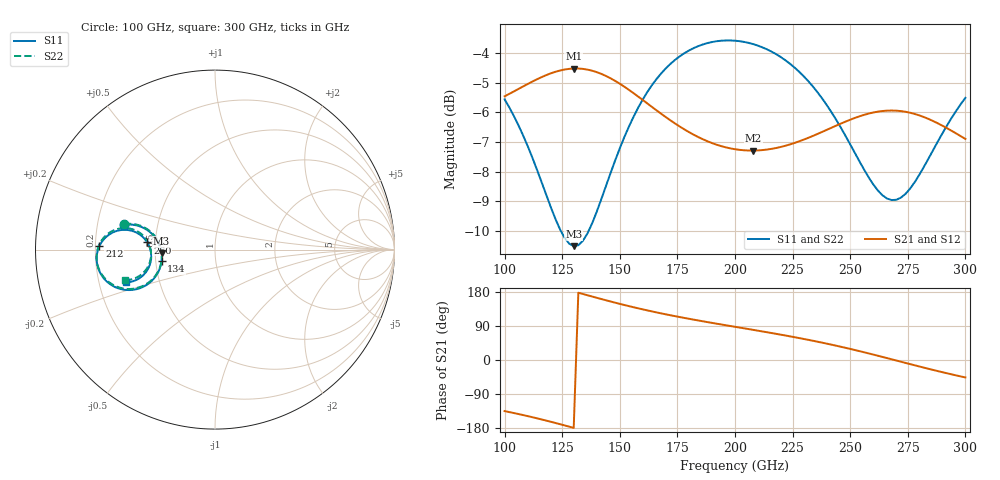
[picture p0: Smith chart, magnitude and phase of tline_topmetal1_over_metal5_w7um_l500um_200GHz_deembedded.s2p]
! Created with skrf 2.0.1 (http://scikit-rf.org).
# GHz S DB R 50.0
!freq dBS11 angS11 dBS21 angS21 dBS12 angS12 dBS22 angS22
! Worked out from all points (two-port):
!   101 points, 100 GHz to 300 GHz, reference 50 ohm
!   highest |S21| = -4.53 dB at 130 GHz (marker M1); lowest = -7.3 dB at 208 GHz (marker M2)
!   |S21| within 3 dB of the highest: start of sweep to end of sweep
!   lowest |S11| = -10.5 dB at 130 GHz (marker M3), VSWR 1.85, Z = 27 - j1.27 ohm
!   |S11| at or under -10 dB: 124.5 GHz to 136.4 GHz (11.93 GHz wide, 9.15 % of centre)
!   |S22| runs from -10.5 to -3.6 dB; largest |S21 - S12| = 3.1e-16
!   S11 on the Smith chart (normalised r, x): 100 GHz: 0.31, +0.12; 134 GHz: 0.54, -0.08; 212 GHz: 0.22, +0.01; 260 GHz: 0.45, +0.04; 300 GHz: 0.32, -0.16
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100  -5.56 164.9  -5.46 -134.9  -5.46 -134.9  -5.57 164.3
108  -6.77 162.9  -5.13 -145.3  -5.13 -145.3  -6.78 162.3
114  -7.92 163.5  -4.89 -153.8  -4.89 -153.8  -7.93 162.9
124  -9.93 172.8  -4.60 -169.3  -4.60 -169.3  -9.95 172.1
130  -10.50 -175.9  -4.53 -179.2  -4.53 -179.2  -10.53 -176.5
134  -10.32 -167.7  -4.54 174.2  -4.54 174.2  -10.34 -168.3
142  -8.92 -156.2  -4.71 160.9  -4.71 160.9  -8.93 -156.8
152  -6.83 -152.6  -5.14 145.1  -5.14 145.1  -6.84 -153.3
160  -5.57 -154.7  -5.59 133.5  -5.59 133.5  -5.57 -155.4
168  -4.69 -158.4  -6.05 123.0  -6.05 123.0  -4.69 -159.1
184  -3.78 -167.1  -6.83 104.4  -6.83 104.4  -3.78 -168.0
200  -3.59 -175.7  -7.24 87.6  -7.24 87.6  -3.60 -176.7
208  -3.71 -179.8  -7.29 79.4  -7.29 79.4  -3.71 179.2
212  -3.82 178.2  -7.27 75.2  -7.27 75.2  -3.82 177.2
234  -5.15 169.0  -6.79 50.5  -6.79 50.5  -5.15 167.9
248  -6.80 167.5  -6.31 32.1  -6.31 32.1  -6.80 166.4
260  -8.43 174.0  -6.01 14.4  -6.01 14.4  -8.42 172.8
268  -8.95 -176.6  -5.94 1.8  -5.94 1.8  -8.95 -177.9
274  -8.75 -169.0  -5.98 -7.7  -5.98 -7.7  -8.74 -170.4
282  -7.84 -161.8  -6.16 -20.2  -6.16 -20.2  -7.83 -163.2
290  -6.71 -159.0  -6.45 -32.1  -6.45 -32.1  -6.71 -160.4
300  -5.51 -159.8  -6.90 -46.1  -6.90 -46.1  -5.52 -161.3
